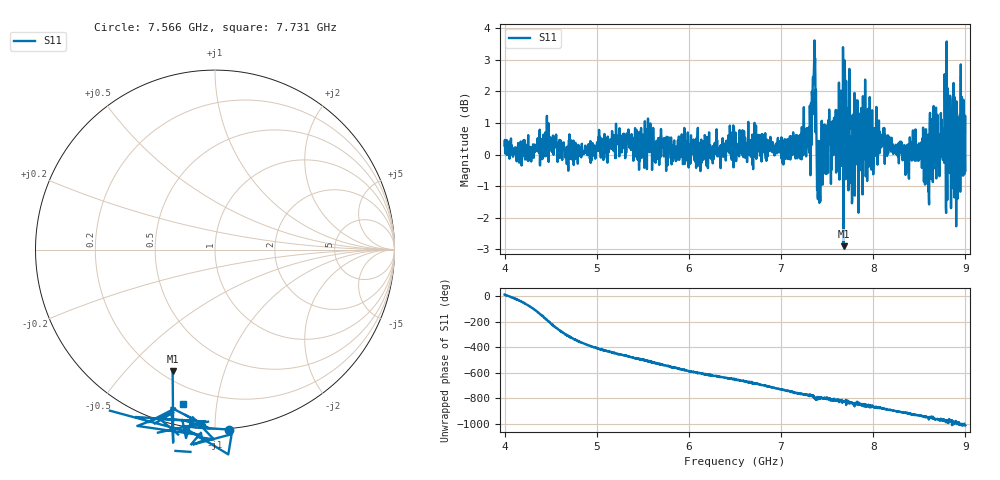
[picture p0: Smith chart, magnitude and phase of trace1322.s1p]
! Created with skrf 1.8.0 (http://scikit-rf.org).
# Hz S RI R 50.0
!freq ReS11 ImS11
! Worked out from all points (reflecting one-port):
!   1601 points, 4 GHz to 9 GHz, reference 50 ohm
!   lowest |S11| = -2.9 dB at 7.678 GHz (marker M1), VSWR 6.05, Z = 12.3 - j34.1 ohm
!   phase of S11 starts at 13 deg and turns -1027 deg over the sweep
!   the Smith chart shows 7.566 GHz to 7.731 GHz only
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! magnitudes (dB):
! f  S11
! 4 GHz  0.3
! 4.625 GHz  -0.2
! 5.25 GHz  0.5
! 5.875 GHz  0.0
! 6.5 GHz  0.2
! 7.125 GHz  0.4
! 7.294 GHz  0.7
! 7.356 GHz  2.6
! 7.369 GHz  3.1
! 7.4 GHz  -1.4
! 7.412 GHz  -0.4
! 7.509 GHz  -0.6
! 7.591 GHz  0.8
! 7.65 GHz  2.0
! 7.678 GHz  -2.9
! 7.716 GHz  0.6
! 7.75 GHz  0.6
! 7.769 GHz  -1.5
! 7.803 GHz  1.7
! 7.891 GHz  0.7
! 8.375 GHz  -0.2
! 8.447 GHz  0.5
! 8.603 GHz  -1.3
! 8.656 GHz  1.5
! 8.819 GHz  -0.4
! 8.875 GHz  0.8
! 8.959 GHz  1.8
! 9 GHz  -0.5
